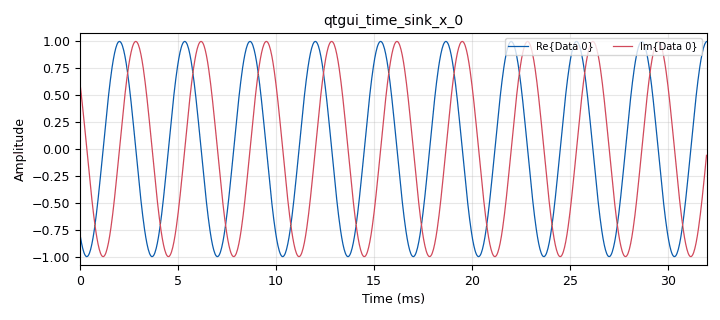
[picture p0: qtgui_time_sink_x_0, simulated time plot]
options:
  parameters:
    author: sdr
    generate_options: qt_gui
    id: HOST_zmq_iShort
    output_language: python
    title: TB_HOST_zmq_iShort
  states: {}

blocks:
- name: samp_rate
  id: variable
  parameters:
    value: '32000'
  states: {}
- name: analog_sig_source_x_0
  id: analog_sig_source_x
  parameters:
    amp: '1'
    freq: '300'
    offset: '0'
    phase: '0'
    samp_rate: samp_rate
    type: complex
    waveform: analog.GR_COS_WAVE
  states: {}
- name: blocks_complex_to_interleaved_short_0
  id: blocks_complex_to_interleaved_short
  parameters:
    scale_factor: 2**12
    vector_output: 'False'
  states: {}
- name: blocks_interleaved_short_to_complex_0
  id: blocks_interleaved_short_to_complex
  parameters:
    scale_factor: 2**12
    vector_input: 'False'
  states: {}
- name: blocks_throttle2_0
  id: blocks_throttle2
  parameters:
    samples_per_second: samp_rate
    type: complex
  states: {}
- name: qtgui_time_sink_x_0
  id: qtgui_time_sink_x
  parameters:
    size: '1024'
    srate: samp_rate
    type: complex
  states: {}
- name: zeromq_push_sink_0
  id: zeromq_push_sink
  parameters:
    timeout: '100'
    type: short
  states: {}

connections:
- [analog_sig_source_x_0, '0', blocks_throttle2_0, '0']
- [blocks_complex_to_interleaved_short_0, '0', blocks_interleaved_short_to_complex_0, '0']
- [blocks_complex_to_interleaved_short_0, '0', zeromq_push_sink_0, '0']
- [blocks_interleaved_short_to_complex_0, '0', qtgui_time_sink_x_0, '0']
- [blocks_throttle2_0, '0', blocks_complex_to_interleaved_short_0, '0']

metadata:
  file_format: 1
  grc_version: 3.10.9.2
